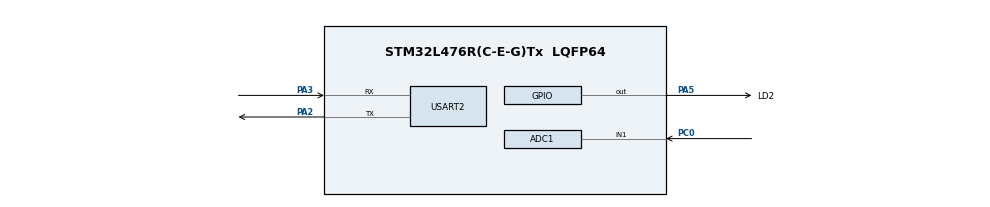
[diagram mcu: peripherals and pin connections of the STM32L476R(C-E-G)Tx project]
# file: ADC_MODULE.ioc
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ADC1.Channel-3\#ChannelRegularConversion=ADC_CHANNEL_1
ADC1.NbrOfConversionFlag=1
ADC1.OffsetNumber-3\#ChannelRegularConversion=ADC_OFFSET_NONE
ADC1.Rank-3\#ChannelRegularConversion=1
ADC1.SamplingTime-3\#ChannelRegularConversion=ADC_SAMPLETIME_2CYCLES_5
ADC1.master=1
Mcu.Family=STM32L4
Mcu.Name=STM32L476R(C-E-G)Tx
Mcu.Package=LQFP64
NVIC.PriorityGroup=NVIC_PRIORITYGROUP_4
PA2.Mode=Asynchronous
PA2.Signal=USART2_TX
PA3.Mode=Asynchronous
PA3.Signal=USART2_RX
PA5.GPIO_Label=LD2
PA5.Signal=GPIO_Output
PC0.Signal=ADCx_IN1
ProjectManager.HeapSize=0x200
ProjectManager.StackSize=0x400
ProjectManager.TargetToolchain=STM32CubeIDE
RCC.ADCFreq_Value=32000000
RCC.HSE_VALUE=8000000
RCC.HSI_VALUE=16000000
RCC.LSE_VALUE=32768
RCC.MSI_VALUE=4000000
RCC.PLLSAI1N=16
RCC.USBFreq_Value=32000000
RCC.VCOOutputFreq_Value=32000000
SH.ADCx_IN1.0=ADC1_IN1,IN1-Single-Ended
USART2.VirtualMode-Asynchronous=VM_ASYNC
board=custom

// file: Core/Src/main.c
/* USER CODE BEGIN Header */
/**
 ******************************************************************************
 * @file           : main.c
 * @brief          : Main program body
 ******************************************************************************
 * @attention
 *
 * <h2><center>&copy; Copyright (c) 2020 STMicroelectronics.
 * All rights reserved.</center></h2>
 *
 * This software component is licensed by ST under BSD 3-Clause license,
 * the "License"; You may not use this file except in compliance with the
 * License. You may obtain a copy of the License at:
 *                        opensource.org/licenses/BSD-3-Clause
 *
 ******************************************************************************
 */
/* USER CODE END Header */

#define BITSET(var,bitno) ((var) |= 1UL<<(bitno))
#define BITCLEAR(var,bitno) ((var) &= ~(1UL<<(bitno)))
#define USE_OF_REGISTERS

#ifndef USE_OF_REGISTERS

#include "main.h"
ADC_HandleTypeDef hadc1;
UART_HandleTypeDef huart2;
void SystemClock_Config(void);
static void MX_GPIO_Init(void);
static void MX_ADC1_Init(void);
static void MX_USART2_UART_Init(void);

#else

#include "stm32l476xx.h"

#endif
/**
 * @brief  delay in clock cycles.
 * Must be calculated with 0.24uS (1/4MHz) equal to 1 by a rule of three
 * @retval None
 */
void delay ( uint8_t cycles ) {
	uint8_t count = 0;
	while (count < cycles) {
		count++;
	}
}
/* USER CODE END 0 */

int main(void) {
	/* USER CODE BEGIN 1 */
#ifdef USE_OF_REGISTERS
	/*
	 * AHB2 peripheral clock enable register (RCC->AHB2ENR): Reset value: 0x0000 0000
	 * GPIOA = GPIOC = ADCEN = 0 clock for those peripherals disabled (Must be set each one)
	 */
	BITSET(RCC->AHB2ENR, 0); /*GPIOA*/
	BITSET(RCC->AHB2ENR, 2); /*GPIOC*/
	BITSET(RCC->AHB2ENR, 13); /*ADC*/
	/*
	 * CLOCK CONTROL REGISTER (RCC->CR): Reset value: 0x0000 0063
	 * MSION = 1
	 * MSIRDY = 1
	 * MSIRANGE = 6 = 4MHz
	 * PLLSAI1ON = 0 = SAI1 PLL disabled (Must be set AFTER all configurations)
	 * MSIRGSEL = 0 = MSI Range is provided by MSISRANGE[3:0] in RCC_CSR register (Must be set)
	 */
	BITSET(RCC->CR, 3); /* MSIRGSEL */
	/*
	 * Clock configuration register: Reset value (RCC->CFGR):  0x0000 0000
	 * SW = 0x00 = MSI selected as system clock
	 * HPRE = 0x00 = SYSCLK not divided (AHB Prescaler)
	 */

	/* PLL configuration register (RCC->PLLCFGR): Reset value: 0x0000 1000
	 * PLLSRC = 00 = No Main PLL, PLLSAI1 and PLLSAI2 entry clock source selected (MSI clock must be selected setting 01)
	 * PLLM = 000 = PLLM value = 1 (/M = /1)
	 * PLLN = 0010000 = PLLN value = 16 (xN = x16)
	 * ----------------------------------------------------------
	 * f(VCO clock) = f(PLL clock input) × (PLLN / PLLM)
	 * f(VCO clock) = 4MHz x (16 / 1)
	 * f(VCO clock) = 64MHz
	 */
	BITSET(RCC->PLLCFGR, 0); /* PLLSRC */
	/*
	 * [Chosen for ADC] PLLSAI1 configuration register (RCC->PLLSAI1CFGR): Reset value: 0x0000 1000
	 * PLLSAI1N = 0010000 = PLLSAI1N value = 16 (xN = x16)
	 * PLLSAI1R = 00 = 2 = PLLSAI1 division factor for PLLADC1CLK
	 * PLLSAIR1EN = 0 = PLLSAI1 PLLADC1CLK output disabled (Must be set)
	 * ----------------------------------------------------------
	 * f(VCOSAI1 clock) = f(PLL clock input) × (PLLSAI1N / PLLM)
	 * f(VCOSAI1 clock) = 4MHz × (16 / 1)
	 * f(VCOSAI1 clock) = 64MHz
	 * ----------------------------------------------------------
	 * f(PLLSAI1_R) = f(VCOSAI1 clock) / PLLSAI1R
	 * f(PLLSAI1_R) = 64MHz / 2
	 * f(PLLSAI1_R) = 32MHz to ADC
	 */
	BITSET(RCC->PLLSAI1CFGR, 24); /* PLLSAIR1EN */
	BITSET(RCC->CR, 26); /* PLLSAI1ON */
	/*
	 * Peripherals independent clock configuration register (RCC->CCIPR): Reset value: 0x0000 0000
	 * ADCSEL[1:0] = 00 = No clock selected (Must be set as 01 for selection of PLLSAI1"R" as ADCs clk)
	 */
	BITSET(RCC->CCIPR, 28);
	/*
	 * GPIO port mode register (GPIOx->MODER): Reset value: 0xABFF FFFF (for port A)
	 * 										   Reset value: 0xFFFF FFFF (for port C)
	 * MODE0 = 11 = Analog mode
	 * MODE5 = 11 = Analog mode (For LD2 this must be set 01 as General Purpose Output)
	 */
	BITCLEAR(GPIOA->MODER, 11);
	BITSET(GPIOA->BRR, 5); /* Turn off LD2 */

	/*
	 * GPIO port analog switch control register (GPIOx->ASCR): Reset value: 0x0000 0000
	 * ASC0 = 0 = Disconnect analog switch to the ADC input (Must be set to enable ADC input)
	 */
	BITSET(GPIOC->ASCR, 0); /* Connect analog switch to the ADC input */
	/*
	 * ADC control register (ADC->CR): Reset value: 0x2000 0000
	 *
	 * DEEPPWD = 1 = in Deep-power-down (Must be cleared)
	 * ADVREGEN = 0 = Voltage regulator disabled (Must be set after DEEPPWD)
	 * ADCALDIF = 0 = Single-ended inputs mode
	 * ADCAL = 0 = Calibration complete (Must be set to start it, then is cleared by HW)
	 * ADSTART = 0 = No ADC regular conversion is ongoing (Must be set to start a conversion)
	 * ADDIS = 0 = Set for disable ADC
	 * ADEN = 0 = ADC is disabled (OFF state) (Must be set after all configurations)
	 */
	BITCLEAR(ADC1->CR, 29); /* DEEPPWD */
	BITSET(ADC1->CR, 28); /* ADVREGEN */
	delay(80); /* 80 uSeg [datasheet: Page 178] */
	//BITSET(ADC1->CR, 31); /* ADCAL */
	/*
	 * ADC configuration register (ADC1->CFGR): Reset value: 0x8000 0000
	 *
	 * CONT = 0 = Single conversion mode
	 * ALIGN = 0 = Right alignment
	 * RES = 00 = 12-bit resolution
	 */
	/*
	 * ADC regular sequence register 1 (ADC1->SQR1): Reset value: 0x0000 0000
	 * L = 0000 = 1 conversion
	 * SQ1 = 0000 = 1st conversion in regular sequence (Must be written with #channel (CN1 = 0001))
	 */
	BITSET(ADC1->SQR1, 6); /* Channel 1 */

	BITSET(ADC1->CR, 0); /* ADEN */
	delay(10); /* wait stabilization of the ADC */
	BITSET(ADC1->CR, 2); /* ADSTART */
	/* USER CODE END 1 */
#else
	/* MCU Configuration--------------------------------------------------------*/

	/* Reset of all peripherals, Initializes the Flash interface and the Systick. */
	HAL_Init();

	/* Configure the system clock */
	SystemClock_Config();

	/* Initialize all configured peripherals */
	MX_GPIO_Init();
	MX_ADC1_Init();
	MX_USART2_UART_Init();
	/* USER CODE BEGIN 2 */
	//	uinta8_t MSG[] = "HELLO_WORLD\n";

	//	HAL_UART_Transmit(&huart2, MSG, sizeof(MSG)-1, 100);
	HAL_ADC_Start(&hadc1);
	//	uint16_t ADC_val = 0;
	/* USER CODE END 2 */

	/* Infinite loop */
	/* USER CODE BEGIN WHILE */
#endif
	/*
	 * ADC regular data register (ADC1->DR): Reset value: 0x0000 0000
	 * They contain the conversion result from the last converted regular channel.
	 */
	uint16_t ADC_val = 0;
	while (1)
	{
#ifdef USE_OF_REGISTERS
		if ( ADC1->ISR && (1U<<2) ) { /* Check EOC flag */
			ADC_val = ADC1->DR;
		}
		if (ADC_val >= 1600) {
			BITSET(GPIOA->BSRR, 5);  /* LD2 ON */
		} else {
			BITSET(GPIOA->BRR, 5);  /* LD2 OFF */
		}
		BITSET(ADC1->CR, 2); /* ADSTART */;

#else
		HAL_ADC_PollForConversion(&hadc1, 1000);
		ADC_val = HAL_ADC_GetValue(&hadc1);

		if (ADC_val >= 1600) {
			HAL_GPIO_WritePin(LD2_GPIO_Port, LD2_Pin, GPIO_PIN_SET);
		} else {
			HAL_GPIO_WritePin(LD2_GPIO_Port, LD2_Pin, GPIO_PIN_RESET);
		}
		HAL_ADC_Start(&hadc1);
#endif
		/* USER CODE END WHILE */

	}
}
#ifndef USE_OF_REGISTERS
void SystemClock_Config(void)
{
	RCC_OscInitTypeDef RCC_OscInitStruct = {0};
	RCC_ClkInitTypeDef RCC_ClkInitStruct = {0};
	RCC_PeriphCLKInitTypeDef PeriphClkInit = {0};

	/** Initializes the CPU, AHB and APB busses clocks
	 */
	RCC_OscInitStruct.OscillatorType = RCC_OSCILLATORTYPE_MSI;
	RCC_OscInitStruct.MSIState = RCC_MSI_ON;
	RCC_OscInitStruct.MSICalibrationValue = 0;
	RCC_OscInitStruct.MSIClockRange = RCC_MSIRANGE_6;
	RCC_OscInitStruct.PLL.PLLState = RCC_PLL_NONE;
	if (HAL_RCC_OscConfig(&RCC_OscInitStruct) != HAL_OK)
	{
		Error_Handler();
	}
	/** Initializes the CPU, AHB and APB busses clocks
	 */
	RCC_ClkInitStruct.ClockType = RCC_CLOCKTYPE_HCLK|RCC_CLOCKTYPE_SYSCLK
			|RCC_CLOCKTYPE_PCLK1|RCC_CLOCKTYPE_PCLK2;
	RCC_ClkInitStruct.SYSCLKSource = RCC_SYSCLKSOURCE_MSI;
	RCC_ClkInitStruct.AHBCLKDivider = RCC_SYSCLK_DIV1;
	RCC_ClkInitStruct.APB1CLKDivider = RCC_HCLK_DIV1;
	RCC_ClkInitStruct.APB2CLKDivider = RCC_HCLK_DIV1;

	if (HAL_RCC_ClockConfig(&RCC_ClkInitStruct, FLASH_LATENCY_0) != HAL_OK)
	{
		Error_Handler();
	}
	PeriphClkInit.PeriphClockSelection = RCC_PERIPHCLK_USART2|RCC_PERIPHCLK_ADC;
	PeriphClkInit.Usart2ClockSelection = RCC_USART2CLKSOURCE_PCLK1;
	PeriphClkInit.AdcClockSelection = RCC_ADCCLKSOURCE_PLLSAI1;
	PeriphClkInit.PLLSAI1.PLLSAI1Source = RCC_PLLSOURCE_MSI;
	PeriphClkInit.PLLSAI1.PLLSAI1M = 1;
	PeriphClkInit.PLLSAI1.PLLSAI1N = 16;
	PeriphClkInit.PLLSAI1.PLLSAI1P = RCC_PLLP_DIV7;
	PeriphClkInit.PLLSAI1.PLLSAI1Q = RCC_PLLQ_DIV2;
	PeriphClkInit.PLLSAI1.PLLSAI1R = RCC_PLLR_DIV2;
	PeriphClkInit.PLLSAI1.PLLSAI1ClockOut = RCC_PLLSAI1_ADC1CLK;
	if (HAL_RCCEx_PeriphCLKConfig(&PeriphClkInit) != HAL_OK)
	{
		Error_Handler();
	}
	/** Configure the main internal regulator output voltage
	 */
	if (HAL_PWREx_ControlVoltageScaling(PWR_REGULATOR_VOLTAGE_SCALE1) != HAL_OK)
	{
		Error_Handler();
	}
}

static void MX_ADC1_Init(void)
{

	ADC_MultiModeTypeDef multimode = {0};
	ADC_ChannelConfTypeDef sConfig = {0};

	/** Common config
	 */
	hadc1.Instance = ADC1;
	hadc1.Init.ClockPrescaler = ADC_CLOCK_ASYNC_DIV1;
	hadc1.Init.Resolution = ADC_RESOLUTION_12B;
	hadc1.Init.DataAlign = ADC_DATAALIGN_RIGHT;
	hadc1.Init.ScanConvMode = ADC_SCAN_DISABLE;
	hadc1.Init.EOCSelection = ADC_EOC_SINGLE_CONV;
	hadc1.Init.LowPowerAutoWait = DISABLE;
	hadc1.Init.ContinuousConvMode = DISABLE;
	hadc1.Init.NbrOfConversion = 1;
	hadc1.Init.DiscontinuousConvMode = DISABLE;
	hadc1.Init.NbrOfDiscConversion = 1;
	hadc1.Init.ExternalTrigConv = ADC_SOFTWARE_START;
	hadc1.Init.ExternalTrigConvEdge = ADC_EXTERNALTRIGCONVEDGE_NONE;
	hadc1.Init.DMAContinuousRequests = DISABLE;
	hadc1.Init.Overrun = ADC_OVR_DATA_PRESERVED;
	hadc1.Init.OversamplingMode = DISABLE;
	if (HAL_ADC_Init(&hadc1) != HAL_OK)
	{
		Error_Handler();
	}
	/** Configure the ADC multi-mode
	 */
	multimode.Mode = ADC_MODE_INDEPENDENT;
	if (HAL_ADCEx_MultiModeConfigChannel(&hadc1, &multimode) != HAL_OK)
	{
		Error_Handler();
	}
	/** Configure Regular Channel
	 */
	sConfig.Channel = ADC_CHANNEL_1;
	sConfig.Rank = ADC_REGULAR_RANK_1;
	sConfig.SamplingTime = ADC_SAMPLETIME_2CYCLES_5;
	sConfig.SingleDiff = ADC_SINGLE_ENDED;
	sConfig.OffsetNumber = ADC_OFFSET_NONE;
	sConfig.Offset = 0;
	if (HAL_ADC_ConfigChannel(&hadc1, &sConfig) != HAL_OK)
	{
		Error_Handler();
	}

}

static void MX_USART2_UART_Init(void)
{

	huart2.Instance = USART2;
	huart2.Init.BaudRate = 115200;
	huart2.Init.WordLength = UART_WORDLENGTH_8B;
	huart2.Init.StopBits = UART_STOPBITS_1;
	huart2.Init.Parity = UART_PARITY_NONE;
	huart2.Init.Mode = UART_MODE_TX_RX;
	huart2.Init.HwFlowCtl = UART_HWCONTROL_NONE;
	huart2.Init.OverSampling = UART_OVERSAMPLING_16;
	huart2.Init.OneBitSampling = UART_ONE_BIT_SAMPLE_DISABLE;
	huart2.AdvancedInit.AdvFeatureInit = UART_ADVFEATURE_NO_INIT;
	if (HAL_UART_Init(&huart2) != HAL_OK)
	{
		Error_Handler();
	}

}

static void MX_GPIO_Init(void)
{
	GPIO_InitTypeDef GPIO_InitStruct = {0};

	/* GPIO Ports Clock Enable */
	__HAL_RCC_GPIOC_CLK_ENABLE();
	__HAL_RCC_GPIOA_CLK_ENABLE();

	/*Configure GPIO pin Output Level */
	HAL_GPIO_WritePin(LD2_GPIO_Port, LD2_Pin, GPIO_PIN_RESET);

	/*Configure GPIO pin : LD2_Pin */
	GPIO_InitStruct.Pin = LD2_Pin;
	GPIO_InitStruct.Mode = GPIO_MODE_OUTPUT_PP;
	GPIO_InitStruct.Pull = GPIO_NOPULL;
	GPIO_InitStruct.Speed = GPIO_SPEED_FREQ_LOW;
	HAL_GPIO_Init(LD2_GPIO_Port, &GPIO_InitStruct);

}

void Error_Handler(void)
{
}

#endif
/************************ (C) COPYRIGHT STMicroelectronics *****END OF FILE****/
